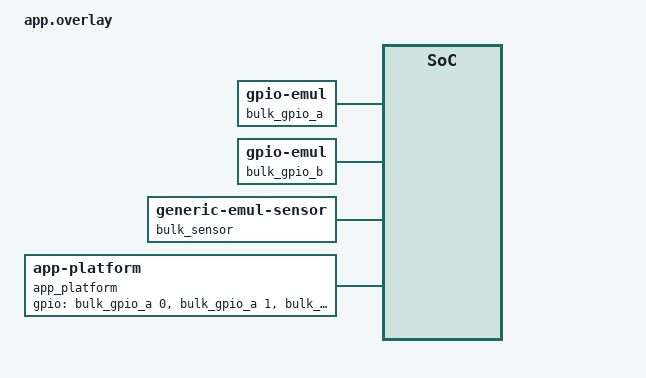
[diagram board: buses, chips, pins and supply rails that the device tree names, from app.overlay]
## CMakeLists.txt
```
# Copyright (c) 2026 Espressif Systems (Shanghai) Co., Ltd.
# SPDX-License-Identifier: Apache-2.0

cmake_minimum_required(VERSION 3.20.0)
find_package(Zephyr REQUIRED HINTS $ENV{ZEPHYR_BASE})
project(app_platform_throughput)

target_sources(app PRIVATE src/main.c src/net.c src/bulk.c)
```

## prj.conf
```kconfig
CONFIG_ZTEST=y
CONFIG_USERSPACE=y
CONFIG_TASK_WDT=y
CONFIG_LOG=y
CONFIG_HEAP_MEM_POOL_SIZE=16384
CONFIG_MAIN_STACK_SIZE=4096
CONFIG_ZTEST_STACK_SIZE=4096

CONFIG_APP_PLATFORM=y
CONFIG_APP_PLATFORM_MAX_APPS=2
CONFIG_APP_PLATFORM_SERVICES=y
CONFIG_APP_PLATFORM_NET=y
CONFIG_APP_PLATFORM_GPIO=y
CONFIG_APP_PLATFORM_SENSOR=y

CONFIG_GPIO=y
CONFIG_SENSOR=y
CONFIG_EMUL=y

CONFIG_NETWORKING=y
CONFIG_NET_IPV4=y
CONFIG_NET_IPV6=n
CONFIG_NET_UDP=y
CONFIG_NET_TCP=y
CONFIG_NET_SOCKETS=y
CONFIG_NET_LOOPBACK=y
CONFIG_NET_MAX_CONTEXTS=8
CONFIG_MQTT_LIB=y
CONFIG_ENTROPY_GENERATOR=y
CONFIG_TEST_RANDOM_GENERATOR=y
# The echo servers listen on loopback, so no link to the host is needed.
CONFIG_NET_DRIVERS=y
CONFIG_NET_SLIP_TAP=n
```

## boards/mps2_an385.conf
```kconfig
# The round trips are timed in cycles, so they run under icount, at
# about one instruction per cycle.
CONFIG_QEMU_ICOUNT=y
CONFIG_QEMU_ICOUNT_SHIFT=5
```

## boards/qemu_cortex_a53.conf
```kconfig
# The round trips are timed in cycles, so they run under icount.
CONFIG_QEMU_ICOUNT=y
# The board Ethernet needs a host backend that needs no setup.
CONFIG_NET_QEMU_USER=y
CONFIG_ETH_DRIVER=y
```

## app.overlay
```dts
/*
 * Copyright (c) 2026 Espressif Systems (Shanghai) Co., Ltd.
 *
 * SPDX-License-Identifier: Apache-2.0
 */

/* Thirty-two GPIO lines on two emulated ports, the last one active low, and an
 * emulated die-temperature sensor.
 */

#include <zephyr/dt-bindings/gpio/gpio.h>

/ {
	aliases {
		die-temp0 = &bulk_sensor;
	};

	bulk_gpio_a: bulk_gpio_a {
		compatible = "zephyr,gpio-emul";
		gpio-controller;
		#gpio-cells = <2>;
		ngpios = <24>;
		status = "okay";
	};

	bulk_gpio_b: bulk_gpio_b {
		compatible = "zephyr,gpio-emul";
		gpio-controller;
		#gpio-cells = <2>;
		ngpios = <8>;
		status = "okay";
	};

	bulk_sensor: bulk_sensor {
		compatible = "zephyr,generic-emul-sensor";
		status = "okay";
	};

	app_platform {
		compatible = "zephyr,app-platform";
		gpios = <&bulk_gpio_a 0 0>, <&bulk_gpio_a 1 0>, <&bulk_gpio_a 2 0>,
			<&bulk_gpio_a 3 0>, <&bulk_gpio_a 4 0>, <&bulk_gpio_a 5 0>,
			<&bulk_gpio_a 6 0>, <&bulk_gpio_a 7 0>, <&bulk_gpio_a 8 0>,
			<&bulk_gpio_a 9 0>, <&bulk_gpio_a 10 0>, <&bulk_gpio_a 11 0>,
			<&bulk_gpio_a 12 0>, <&bulk_gpio_a 13 0>, <&bulk_gpio_a 14 0>,
			<&bulk_gpio_a 15 0>, <&bulk_gpio_a 16 0>, <&bulk_gpio_a 17 0>,
			<&bulk_gpio_a 18 0>, <&bulk_gpio_a 19 0>, <&bulk_gpio_a 20 0>,
			<&bulk_gpio_a 21 0>, <&bulk_gpio_a 22 0>, <&bulk_gpio_a 23 0>,
			<&bulk_gpio_b 0 0>, <&bulk_gpio_b 1 0>, <&bulk_gpio_b 2 0>,
			<&bulk_gpio_b 3 0>, <&bulk_gpio_b 4 0>, <&bulk_gpio_b 5 0>,
			<&bulk_gpio_b 6 0>, <&bulk_gpio_b 7 GPIO_ACTIVE_LOW>;
	};
};
```

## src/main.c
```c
/*
 * Copyright (c) 2026 Espressif Systems (Shanghai) Co., Ltd.
 *
 * SPDX-License-Identifier: Apache-2.0
 */

#include <zephyr/ztest.h>
#include <string.h>

#include "throughput.h"

K_APPMEM_PARTITION_DEFINE(report_part);

static int slot_of(const char *name)
{
	for (int i = 0; i < app_platform_count(); i++) {
		struct app_platform_status st;

		if (app_platform_status(i, &st) == 0 && st.name != NULL &&
		    strcmp(st.name, name) == 0) {
			return i;
		}
	}
	return -1;
}

static void add_report_part(int id)
{
	struct k_mem_domain *dom = app_platform_domain(id);

	for (int i = 0; i < CONFIG_MAX_DOMAIN_PARTITIONS; i++) {
		if (dom->partitions[i].start == report_part.start &&
		    dom->partitions[i].size == report_part.size) {
			return;
		}
	}
	zassert_equal(k_mem_domain_add_partition(dom, &report_part), 0,
		      "report partition not added");
}

int tp_launch(const char *name, app_entry_t entry, app_caps_t caps)
{
	const struct app_def def = {
		.name = name,
		.source = APP_BUILTIN,
		.entry = entry,
		.caps = caps,
		.stopped = true,
	};
	int id = app_platform_launch(&def);

	zassert_true(id >= 0, "%s launch failed: %d", name, id);
	add_report_part(id);
	zassert_equal(app_platform_start(id), id, "%s did not start", name);
	return id;
}

bool tp_wait_gone(const char *name, int ms)
{
	for (int i = 0; i < ms / 5; i++) {
		if (slot_of(name) < 0) {
			return true;
		}
		k_msleep(5);
	}
	return slot_of(name) < 0;
}

void tp_sort(uint32_t *v, size_t n)
{
	for (size_t i = 1; i < n; i++) {
		uint32_t x = v[i];
		size_t j = i;

		while (j > 0 && v[j - 1] > x) {
			v[j] = v[j - 1];
			j--;
		}
		v[j] = x;
	}
}

static void *throughput_setup(void)
{
	static bool ready;

	if (!ready) {
		zassert_equal(app_platform_init(), 0, "platform init failed");
		ready = true;
	}
	return NULL;
}

ZTEST_SUITE(net, NULL, throughput_setup, NULL, NULL, NULL);
ZTEST_SUITE(bulk, NULL, throughput_setup, NULL, NULL, NULL);
```

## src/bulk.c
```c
/*
 * Copyright (c) 2026 Espressif Systems (Shanghai) Co., Ltd.
 *
 * SPDX-License-Identifier: Apache-2.0
 */

/* The bulk calls: several GPIO lines driven in one call and several sensor
 * samples read in one call, checked against emulated devices and timed against
 * the same work done one call at a time.
 */

#include <zephyr/ztest.h>
#include <zephyr/app_platform/app_services.h>
#include <zephyr/app_platform/app_caps.h>
#include <zephyr/drivers/gpio.h>
#include <zephyr/drivers/gpio/gpio_emul.h>
#include <zephyr/drivers/emul.h>
#include <zephyr/drivers/emul_sensor.h>
#include <errno.h>

#include "throughput.h"

#define PLATFORM_NODE DT_COMPAT_GET_ANY_STATUS_OKAY(zephyr_app_platform)
#define LINE_COUNT    DT_PROP_LEN(PLATFORM_NODE, gpios)
#define ALL_LINES     ((uint32_t)BIT64_MASK(LINE_COUNT))
#define SENSOR_IDX    0
#define BULK_CAPS     (APP_CAP_LOG | APP_CAP_TIME | APP_CAP_GPIO | APP_CAP_SENSOR)
#define REPS          3

BUILD_ASSERT(LINE_COUNT == 32, "the suite drives 32 lines");

#define LINE_SPEC(node_id, prop, idx) GPIO_DT_SPEC_GET_BY_IDX(node_id, prop, idx),

static const struct gpio_dt_spec lines[] = {
	DT_FOREACH_PROP_ELEM(PLATFORM_NODE, gpios, LINE_SPEC)
};

static const struct emul *const sensor_emul = EMUL_DT_GET(DT_NODELABEL(bulk_sensor));

K_APP_DMEM(report_part) volatile int bulk_rc = -9999;
K_APP_DMEM(report_part) volatile int bulk_rc2 = -9999;
K_APP_DMEM(report_part) volatile int bulk_done;
K_APP_DMEM(report_part) volatile int bulk_holding;
K_APP_DMEM(report_part) volatile int bulk_release;
K_APP_DMEM(report_part) volatile int bulk_cmd;
K_APP_DMEM(report_part) volatile int bulk_ack;
K_APP_DMEM(report_part) volatile uint32_t bulk_arg_mask;
K_APP_DMEM(report_part) volatile uint32_t bulk_arg_values;
K_APP_DMEM(report_part) int32_t samples[CONFIG_APP_PLATFORM_SENSOR_READ_N_MAX + 1];

/* Cycles of N single calls and of one bulk call, for N = 8 and N = 32. */
K_APP_DMEM(report_part) uint32_t gpio_single[2];
K_APP_DMEM(report_part) uint32_t gpio_bulk[2];
K_APP_DMEM(report_part) uint32_t sensor_single[2];
K_APP_DMEM(report_part) uint32_t sensor_bulk[2];

static const uint32_t bench_n[2] = { 8U, 32U };

/* Logical level of a line, from the level the emulated port drives. */
static int line_level(int i)
{
	int raw = gpio_emul_output_get(lines[i].port, lines[i].pin);

	return ((lines[i].dt_flags & GPIO_ACTIVE_LOW) != 0U) ? !raw : raw;
}

static uint32_t levels(void)
{
	uint32_t v = 0U;

	for (int i = 0; i < LINE_COUNT; i++) {
		if (line_level(i) > 0) {
			v |= BIT(i);
		}
	}
	return v;
}

/* Lines granted to the next application; a reclaim drops the grants of a slot. */
static uint32_t granted;

static void grant_lines(uint32_t mask)
{
	granted = mask;
}

static int launch(const char *name, app_entry_t entry)
{
	for (int i = 0; i < CONFIG_APP_PLATFORM_MAX_APPS; i++) {
		app_platform_grant_gpio(i, granted);
	}
	return tp_launch(name, entry, BULK_CAPS);
}

static void set_temp(q31_t q)
{
	struct sensor_chan_spec ch = { .chan_type = SENSOR_CHAN_DIE_TEMP, .chan_idx = 0 };

	zassert_ok(emul_sensor_backend_set_channel(sensor_emul, ch, &q, 5));
}

static void report(int rc)
{
	bulk_rc = rc;
	bulk_done = 1;
}

static void run_app(const char *name, app_entry_t entry)
{
	bulk_rc = -9999;
	bulk_rc2 = -9999;
	bulk_done = 0;
	(void)launch(name, entry);
	zassert_true(tp_wait_gone(name, 5000), "%s never exited", name);
	zassert_equal(bulk_done, 1, "%s did not report", name);
}

/* Drive lines on request until released, so the levels can be checked while
 * the application still owns them: a reclaim drives its active lines low.
 */
static void set_mask_server_app(void *arg)
{
	int seen = 0;

	ARG_UNUSED(arg);

	bulk_holding = 1;
	while (bulk_release == 0) {
		if (bulk_cmd != seen) {
			seen = bulk_cmd;
			bulk_rc = app_svc_gpio_set_mask(bulk_arg_mask, bulk_arg_values);
			bulk_ack = seen;
		}
		k_msleep(1);
	}
	bulk_done = 1;
}

static void set_mask_held_app(void *arg)
{
	ARG_UNUSED(arg);

	report(app_svc_gpio_set_mask(bulk_arg_mask, bulk_arg_values));
	bulk_holding = 1;
	while (bulk_release == 0) {
		k_msleep(1);
	}
}

static void server_start(void)
{
	bulk_cmd = 0;
	bulk_ack = 0;
	bulk_done = 0;
	bulk_holding = 0;
	bulk_release = 0;
	(void)launch("gpio_server", set_mask_server_app);
	for (int i = 0; i < 400 && bulk_holding == 0; i++) {
		k_msleep(5);
	}
	zassert_equal(bulk_holding, 1, "gpio_server did not start");
}

static void server_stop(void)
{
	bulk_release = 1;
	zassert_true(tp_wait_gone("gpio_server", 2000), "gpio_server never exited");
	zassert_equal(bulk_done, 1, "gpio_server did not end on its own");
}

static int drive(uint32_t mask, uint32_t values)
{
	bulk_arg_mask = mask;
	bulk_arg_values = values;
	bulk_cmd++;
	for (int i = 0; i < 400 && bulk_ack != bulk_cmd; i++) {
		k_msleep(5);
	}
	zassert_equal(bulk_ack, bulk_cmd, "gpio_server did not answer");
	return bulk_rc;
}

ZTEST(bulk, test_gpio_set_mask_drives_lines)
{
	grant_lines(ALL_LINES);
	server_start();
	zassert_equal(levels(), 0U, "lines not all low: %08x", levels());

	zassert_ok(drive(ALL_LINES, 0xA5C3F00FU));
	zassert_equal(levels(), 0xA5C3F00FU, "levels %08x", levels());

	zassert_ok(drive(0x00FF00FFU, 0x0F0F0F0FU));
	zassert_equal(levels(), 0xA50FF00FU, "levels %08x", levels());

	zassert_ok(drive(0U, ALL_LINES), "an empty mask was refused");
	zassert_equal(levels(), 0xA50FF00FU, "an empty mask changed a line");

	server_stop();
	zassert_equal(levels(), 0U, "exit left lines active: %08x", levels());
}

ZTEST(bulk, test_gpio_set_mask_needs_every_grant)
{
	grant_lines(0x0000000FU);
	server_start();
	zassert_equal(drive(0x0000001FU, 0x0000001FU), -EACCES);
	zassert_equal(levels(), 0U, "a refused call drove a line");
	zassert_equal(drive(BIT(31), BIT(31)), -EACCES);
	zassert_equal(levels(), 0U, "a refused call drove a line");
	zassert_ok(drive(0x0000000FU, 0x0000000AU));
	zassert_equal(levels(), 0x0000000AU, "levels %08x", levels());
	server_stop();
}

ZTEST(bulk, test_gpio_set_mask_idle_on_reclaim)
{
	int id;

	grant_lines(ALL_LINES);
	bulk_arg_mask = 0x80000101U;
	bulk_arg_values = 0x80000101U;
	bulk_holding = 0;
	bulk_release = 0;
	id = launch("gpio_held", set_mask_held_app);
	for (int i = 0; i < 400 && bulk_holding == 0; i++) {
		k_msleep(5);
	}
	zassert_equal(bulk_holding, 1, "gpio_held never reported");
	zassert_ok(bulk_rc);
	zassert_equal(levels(), 0x80000101U, "levels %08x", levels());

	zassert_ok(app_platform_remove(id));
	zassert_true(tp_wait_gone("gpio_held", 2000), "gpio_held never reclaimed");
	zassert_equal(levels(), 0U, "reclaim left lines active: %08x", levels());
	bulk_release = 1;
}

static void read_n_app(void *arg)
{
	ARG_UNUSED(arg);

	bulk_rc2 = app_svc_sensor_read_n(SENSOR_IDX, samples, 0U);
	if (app_svc_sensor_read_n(SENSOR_IDX, samples,
				  CONFIG_APP_PLATFORM_SENSOR_READ_N_MAX + 1U) != -EINVAL) {
		bulk_rc2 = -EIO;
	}
	report(app_svc_sensor_read_n(SENSOR_IDX, samples, CONFIG_APP_PLATFORM_SENSOR_READ_N_MAX));
}

ZTEST(bulk, test_sensor_read_n)
{
	/* 20.0 degrees as a q31 value with a shift of 5. */
	set_temp(1342177280);
	run_app("read_n", read_n_app);
	zassert_equal(bulk_rc2, -EINVAL, "a count of 0 or above the maximum was taken");
	zassert_equal(bulk_rc, CONFIG_APP_PLATFORM_SENSOR_READ_N_MAX, "read_n returned %d",
		      bulk_rc);
	for (int i = 0; i < CONFIG_APP_PLATFORM_SENSOR_READ_N_MAX; i++) {
		zassert_within(samples[i], 20000, 1, "sample %d is %d", i, samples[i]);
	}
}

static uint32_t min_u32(uint32_t a, uint32_t b)
{
	return (a < b) ? a : b;
}

static void gpio_bench_app(void *arg)
{
	int rc = 0;

	ARG_UNUSED(arg);

	for (int k = 0; k < 2; k++) {
		uint32_t n = bench_n[k];
		uint32_t mask = (uint32_t)BIT64_MASK(n);

		gpio_single[k] = UINT32_MAX;
		gpio_bulk[k] = UINT32_MAX;
		for (int r = 0; r < REPS && rc == 0; r++) {
			uint32_t t0 = app_svc_cycles();

			for (uint32_t i = 0; i < n && rc == 0; i++) {
				rc = app_svc_gpio_set((int)i, (int)(r & 1));
			}
			gpio_single[k] = min_u32(gpio_single[k], app_svc_cycles() - t0);

			t0 = app_svc_cycles();
			if (rc == 0) {
				rc = app_svc_gpio_set_mask(mask, ((r & 1) != 0) ? 0U : mask);
			}
			gpio_bulk[k] = min_u32(gpio_bulk[k], app_svc_cycles() - t0);
		}
	}
	(void)app_svc_gpio_set_mask(ALL_LINES, 0U);
	report(rc);
}

static void sensor_bench_app(void *arg)
{
	int rc = 0;

	ARG_UNUSED(arg);

	for (int k = 0; k < 2; k++) {
		uint32_t n = bench_n[k];

		sensor_single[k] = UINT32_MAX;
		sensor_bulk[k] = UINT32_MAX;
		for (int r = 0; r < REPS && rc == 0; r++) {
			uint32_t t0 = app_svc_cycles();

			for (uint32_t i = 0; i < n && rc == 0; i++) {
				rc = app_svc_sensor_read(SENSOR_IDX, &samples[i]);
			}
			sensor_single[k] = min_u32(sensor_single[k], app_svc_cycles() - t0);

			t0 = app_svc_cycles();
			if (rc == 0) {
				rc = app_svc_sensor_read_n(SENSOR_IDX, samples, n);
				rc = (rc == (int)n) ? 0 : -EIO;
			}
			sensor_bulk[k] = min_u32(sensor_bulk[k], app_svc_cycles() - t0);
		}
	}
	report(rc);
}

ZTEST(bulk, test_bulk_calls_cost_less)
{
	set_temp(1342177280);
	grant_lines(ALL_LINES);
	run_app("gpio_bench", gpio_bench_app);
	zassert_ok(bulk_rc, "gpio bench failed: %d", bulk_rc);
	zassert_equal(levels(), 0U, "gpio_bench left lines active: %08x", levels());
	run_app("sensor_bench", sensor_bench_app);
	zassert_ok(bulk_rc, "sensor bench failed: %d", bulk_rc);

	for (int k = 0; k < 2; k++) {
		TC_PRINT("gpio   N=%2u: %u single calls %u cycles, one bulk call %u cycles\n",
			 bench_n[k], bench_n[k], gpio_single[k], gpio_bulk[k]);
		TC_PRINT("sensor N=%2u: %u single calls %u cycles, one bulk call %u cycles\n",
			 bench_n[k], bench_n[k], sensor_single[k], sensor_bulk[k]);
		zassert_true(gpio_bulk[k] < gpio_single[k], "gpio bulk call not cheaper");
		zassert_true(sensor_bulk[k] < sensor_single[k], "sensor bulk call not cheaper");
	}
}
```

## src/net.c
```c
/*
 * Copyright (c) 2026 Espressif Systems (Shanghai) Co., Ltd.
 *
 * SPDX-License-Identifier: Apache-2.0
 */

/* The socket services over loopback: an application trades datagrams and a
 * stream with echo servers in the firmware through the net service, and the
 * suite checks the data, the receive timeout, the release of the socket on
 * reclaim and the time of a round trip.
 */

#include <zephyr/ztest.h>
#include <zephyr/app_platform/app_services.h>
#include <zephyr/app_platform/app_caps.h>
#include <zephyr/net/socket.h>
#include <zephyr/net/net_context.h>
#include <errno.h>

#include "throughput.h"

#define UDP_PORT   4242
#define TCP_PORT   4243
#define IDLE_PORT  4244
#define DGRAM_MAX  CONFIG_APP_PLATFORM_NET_DGRAM_MAX
#define ROUNDS     32
#define NET_CAPS   (APP_CAP_LOG | APP_CAP_TIME | APP_CAP_NET | APP_CAP_SOCKET)

/* Upper bound on the median round trip, far below one poll period of a net
 * thread that polls its sockets.
 */
#define RTT_BOUND_US 5000

K_APP_DMEM(report_part) volatile int net_rc = -9999;
K_APP_DMEM(report_part) volatile int net_done;
K_APP_DMEM(report_part) volatile int net_holding;
K_APP_DMEM(report_part) volatile int net_release;
K_APP_DMEM(report_part) volatile uint32_t net_elapsed_ms;
K_APP_DMEM(report_part) uint32_t rtt[ROUNDS];

static void udp_echo(void *a, void *b, void *c)
{
	static uint8_t buf[DGRAM_MAX];
	struct sockaddr_in addr = {
		.sin_family = AF_INET,
		.sin_port = htons(UDP_PORT),
	};
	int fd = zsock_socket(AF_INET, SOCK_DGRAM, IPPROTO_UDP);

	ARG_UNUSED(a);
	ARG_UNUSED(b);
	ARG_UNUSED(c);

	(void)zsock_inet_pton(AF_INET, "127.0.0.1", &addr.sin_addr);
	if (fd < 0 || zsock_bind(fd, (struct sockaddr *)&addr, sizeof(addr)) != 0) {
		printk("udp echo: no socket (%d)\n", errno);
		return;
	}
	for (;;) {
		struct sockaddr_in from;
		socklen_t fromlen = sizeof(from);
		ssize_t n = zsock_recvfrom(fd, buf, sizeof(buf), 0, (struct sockaddr *)&from,
					   &fromlen);

		if (n > 0) {
			(void)zsock_sendto(fd, buf, n, 0, (struct sockaddr *)&from, fromlen);
		}
	}
}

K_THREAD_DEFINE(udp_echo_tid, 2048, udp_echo, NULL, NULL, NULL, 5, 0, 0);

static void tcp_echo(void *a, void *b, void *c)
{
	static uint8_t buf[DGRAM_MAX];
	struct sockaddr_in addr = {
		.sin_family = AF_INET,
		.sin_port = htons(TCP_PORT),
	};
	int lfd = zsock_socket(AF_INET, SOCK_STREAM, IPPROTO_TCP);

	ARG_UNUSED(a);
	ARG_UNUSED(b);
	ARG_UNUSED(c);

	(void)zsock_inet_pton(AF_INET, "127.0.0.1", &addr.sin_addr);
	if (lfd < 0 || zsock_bind(lfd, (struct sockaddr *)&addr, sizeof(addr)) != 0 ||
	    zsock_listen(lfd, 1) != 0) {
		printk("tcp echo: no socket (%d)\n", errno);
		return;
	}
	for (;;) {
		int fd = zsock_accept(lfd, NULL, NULL);
		ssize_t n;

		if (fd < 0) {
			continue;
		}
		while ((n = zsock_recv(fd, buf, sizeof(buf), 0)) > 0) {
			ssize_t off = 0;

			while (off < n) {
				ssize_t m = zsock_send(fd, buf + off, n - off, 0);

				if (m <= 0) {
					break;
				}
				off += m;
			}
		}
		(void)zsock_close(fd);
	}
}

K_THREAD_DEFINE(tcp_echo_tid, 2048, tcp_echo, NULL, NULL, NULL, 5, 0, 0);

static size_t round_len(int i)
{
	return 1U + ((size_t)i * 37U) % DGRAM_MAX;
}

static void fill(uint8_t *buf, size_t len, int seed)
{
	for (size_t i = 0; i < len; i++) {
		buf[i] = (uint8_t)((uint32_t)seed * 31U + i);
	}
}

static bool same(const uint8_t *a, const uint8_t *b, size_t len)
{
	for (size_t i = 0; i < len; i++) {
		if (a[i] != b[i]) {
			return false;
		}
	}
	return true;
}

static void report(int rc)
{
	net_rc = rc;
	net_done = 1;
}

static int udp_round(int i, uint8_t *tx, uint8_t *rx, uint32_t *cycles)
{
	size_t len = round_len(i);
	uint32_t t0;
	int n;

	fill(tx, len, i);
	t0 = app_svc_cycles();
	n = app_svc_udp_send(tx, len);
	if (n != (int)len) {
		return (n < 0) ? n : -EIO;
	}
	n = app_svc_udp_recv(rx, DGRAM_MAX, 1000);
	*cycles = app_svc_cycles() - t0;
	if (n < 0) {
		return n;
	}
	if (n != (int)len || !same(tx, rx, len)) {
		return -EBADMSG;
	}
	return 0;
}

static void udp_rtt_app(void *arg)
{
	uint8_t tx[DGRAM_MAX];
	uint8_t rx[DGRAM_MAX];
	uint32_t cycles = 0U;
	int rc = app_svc_net_ready();

	ARG_UNUSED(arg);

	if (rc == 0) {
		rc = app_svc_udp_open("127.0.0.1", UDP_PORT);
	}
	/* The first round warms up the path and is not timed. */
	for (int i = 0; rc == 0 && i <= ROUNDS; i++) {
		rc = udp_round(i, tx, rx, &cycles);
		if (i > 0) {
			rtt[i - 1] = cycles;
		}
	}
	(void)app_svc_udp_close();
	report(rc);
}

static void tcp_rtt_app(void *arg)
{
	uint8_t tx[DGRAM_MAX];
	uint8_t rx[DGRAM_MAX];
	int rc = app_svc_net_ready();

	ARG_UNUSED(arg);

	if (rc == 0) {
		rc = app_svc_tcp_connect("127.0.0.1", TCP_PORT);
	}
	for (int i = 0; rc == 0 && i <= ROUNDS; i++) {
		size_t len = round_len(i);
		size_t got = 0U;
		uint32_t t0;
		int n;

		fill(tx, len, i);
		t0 = app_svc_cycles();
		n = app_svc_tcp_send(tx, len);
		if (n != (int)len) {
			rc = (n < 0) ? n : -EIO;
			break;
		}
		while (got < len) {
			n = app_svc_tcp_recv(rx + got, len - got, 1000);
			if (n <= 0) {
				rc = (n < 0) ? n : -ECONNRESET;
				break;
			}
			got += (size_t)n;
		}
		if (i > 0) {
			rtt[i - 1] = app_svc_cycles() - t0;
		}
		if (rc == 0 && !same(tx, rx, len)) {
			rc = -EBADMSG;
		}
	}
	(void)app_svc_tcp_close();
	report(rc);
}

static void udp_timeout_app(void *arg)
{
	uint8_t rx[16];
	uint32_t t0;
	int rc = app_svc_net_ready();

	ARG_UNUSED(arg);

	if (rc == 0) {
		rc = app_svc_udp_open("127.0.0.1", IDLE_PORT);
	}
	if (rc == 0) {
		t0 = app_svc_uptime_ms();
		rc = app_svc_udp_recv(rx, sizeof(rx), 50);
		net_elapsed_ms = app_svc_uptime_ms() - t0;
	}
	(void)app_svc_udp_close();
	report(rc);
}

static void udp_held_app(void *arg)
{
	uint8_t tx[4] = { 1, 2, 3, 4 };
	uint8_t rx[4];
	int rc = app_svc_net_ready();

	ARG_UNUSED(arg);

	if (rc == 0) {
		rc = app_svc_udp_open("127.0.0.1", UDP_PORT);
	}
	if (rc == 0) {
		rc = app_svc_udp_send(tx, sizeof(tx));
		rc = (rc == (int)sizeof(tx)) ? 0 : -EIO;
	}
	if (rc == 0) {
		rc = app_svc_udp_recv(rx, sizeof(rx), 1000);
		rc = (rc == (int)sizeof(rx)) ? 0 : -EIO;
	}
	report(rc);
	net_holding = 1;
	while (net_release == 0) {
		k_msleep(1);
	}
}

static void count_used(struct net_context *ctx, void *user_data)
{
	int *count = user_data;

	if (net_context_is_used(ctx)) {
		(*count)++;
	}
}

static int contexts_used(void)
{
	int count = 0;

	net_context_foreach(count_used, &count);
	return count;
}

static void run_app(const char *name, app_entry_t entry)
{
	net_rc = -9999;
	net_done = 0;
	(void)tp_launch(name, entry, NET_CAPS);
	zassert_true(tp_wait_gone(name, 20000), "%s never exited", name);
	zassert_equal(net_done, 1, "%s did not report", name);
}

static uint32_t report_rtt(const char *what)
{
	uint32_t median;

	tp_sort(rtt, ROUNDS);
	median = rtt[ROUNDS / 2];
	TC_PRINT("%s round trip: median %u cycles (%u us), min %u, max %u\n", what, median,
		 k_cyc_to_us_ceil32(median), rtt[0], rtt[ROUNDS - 1]);
	return median;
}

ZTEST(net, test_udp_round_trip)
{
	uint32_t median;

	run_app("udp_rtt", udp_rtt_app);
	zassert_equal(net_rc, 0, "udp round trips failed: %d", net_rc);
	median = report_rtt("udp");
	zassert_true(k_cyc_to_us_ceil32(median) < RTT_BOUND_US, "udp round trip %u us",
		     k_cyc_to_us_ceil32(median));
}

ZTEST(net, test_tcp_round_trip)
{
	uint32_t median;

	run_app("tcp_rtt", tcp_rtt_app);
	zassert_equal(net_rc, 0, "tcp round trips failed: %d", net_rc);
	median = report_rtt("tcp");
	zassert_true(k_cyc_to_us_ceil32(median) < RTT_BOUND_US, "tcp round trip %u us",
		     k_cyc_to_us_ceil32(median));
}

ZTEST(net, test_udp_recv_times_out)
{
	run_app("udp_idle", udp_timeout_app);
	zassert_equal(net_rc, -EAGAIN, "recv on an idle socket returned %d", net_rc);
	zassert_true(net_elapsed_ms >= 45U && net_elapsed_ms < 150U,
		     "recv timeout of 50 ms took %u ms", net_elapsed_ms);
}

ZTEST(net, test_udp_socket_closed_on_reclaim)
{
	int base = contexts_used();
	int id;

	net_rc = -9999;
	net_done = 0;
	net_holding = 0;
	net_release = 0;
	id = tp_launch("udp_held", udp_held_app, NET_CAPS);
	for (int i = 0; i < 2000 && net_holding == 0; i++) {
		k_msleep(5);
	}
	zassert_equal(net_holding, 1, "udp_held never reported");
	zassert_equal(net_rc, 0, "udp_held rc %d", net_rc);
	zassert_equal(contexts_used(), base + 1, "the socket of udp_held is not open");

	zassert_equal(app_platform_remove(id), 0);
	zassert_true(tp_wait_gone("udp_held", 2000), "udp_held never reclaimed");
	for (int i = 0; i < 200 && contexts_used() != base; i++) {
		k_msleep(5);
	}
	zassert_equal(contexts_used(), base, "reclaim left the socket of udp_held open");
	net_release = 1;
}
```

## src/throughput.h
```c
/*
 * Copyright (c) 2026 Espressif Systems (Shanghai) Co., Ltd.
 *
 * SPDX-License-Identifier: Apache-2.0
 */

#ifndef TESTS_APP_PLATFORM_THROUGHPUT_H_
#define TESTS_APP_PLATFORM_THROUGHPUT_H_

#include <zephyr/kernel.h>
#include <zephyr/app_platform/app_platform.h>
#include <zephyr/app_memory/app_memdomain.h>

/* Launch a built-in application with the report partition in its domain. */
int tp_launch(const char *name, app_entry_t entry, app_caps_t caps);

/* Wait until no group carries @p name, up to @p ms milliseconds. */
bool tp_wait_gone(const char *name, int ms);

/* Sort @p n cycle counts in place. */
void tp_sort(uint32_t *v, size_t n);

#endif /* TESTS_APP_PLATFORM_THROUGHPUT_H_ */
```
